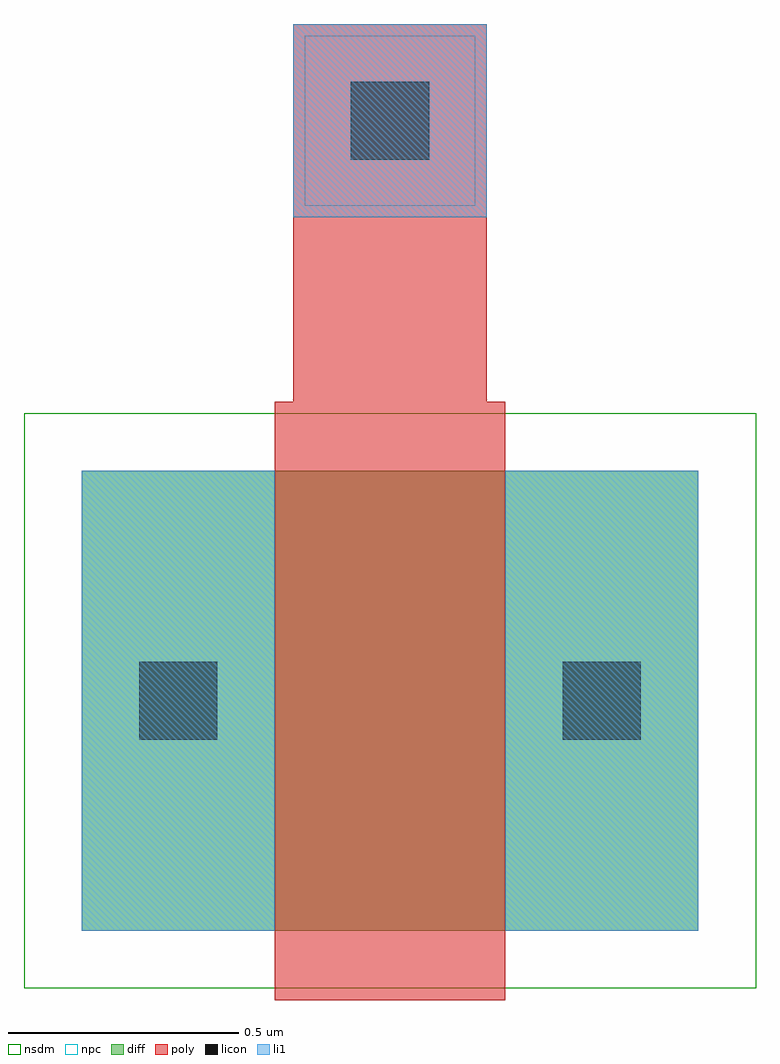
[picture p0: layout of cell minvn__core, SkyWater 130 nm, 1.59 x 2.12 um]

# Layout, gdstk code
import gdstk
lib = gdstk.Library(unit=1e-6, precision=1e-09)
def R(c, l, rs):  # rectangles x0, y0, x1, y1
    for r in rs: c.add(gdstk.rectangle(r[:2], r[2:], *l))
diff = (65, 20)
poly = (66, 20)
licon = (66, 44)
li1 = (67, 20)
nsdm = (93, 44)
npc = (95, 20)

minvn__core = lib.new_cell('minvn__core')
R(minvn__core, diff, [(0,0,1.34,1)])
R(minvn__core, poly, [(0.42,-0.15,0.92,1), (0.42,1,0.92,1.15), (0.42,1,0.92,1.15), (0.46,1.15,0.88,1.97)])
R(minvn__core, licon, [(0.125,0.415,0.295,0.585), (1.045,0.415,1.215,0.585), (0.585,1.675,0.755,1.845)])
R(minvn__core, li1, [(0,0,0.42,1), (0.92,0,1.34,1), (0.46,1.55,0.88,1.97)])
R(minvn__core, nsdm, [(-0.125,-0.125,1.465,1.125)])
R(minvn__core, npc, [(0.485,1.575,0.855,1.945)])

lib.write_gds('minvn__core.gds')
